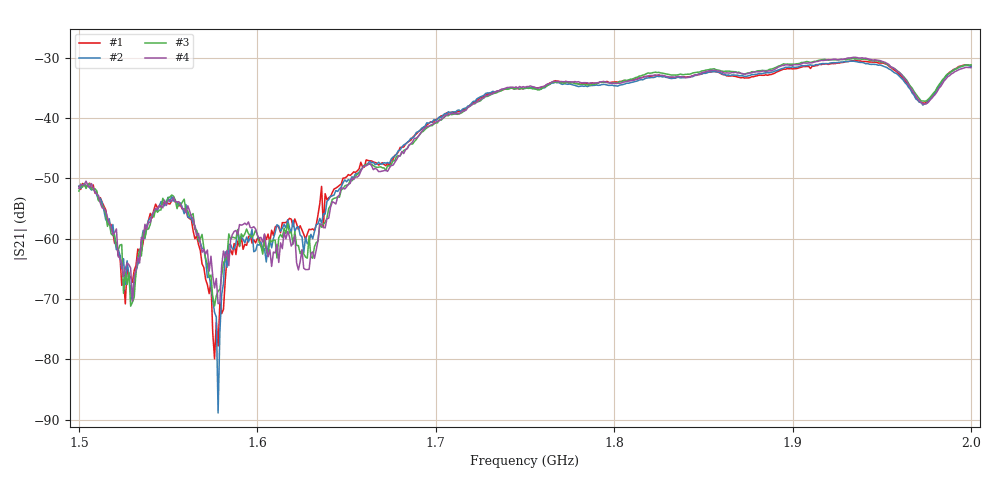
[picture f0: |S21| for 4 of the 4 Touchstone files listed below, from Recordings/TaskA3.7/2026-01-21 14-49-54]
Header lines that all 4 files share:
! NanoVNA-App by SYSJOINT et al v1.1.209 (+OD18)
! Start: 1,5GHz Stop: 2GHz Points: 501
! S-Parameter data: F S11 S21 S12 S22
# Hz S RI R 50
!  Frequency  S11_Real  S11_Imag  S21_Real  S21_Imag  S12_Real  S12_Imag  S22_Real  S22_Imag
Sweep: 1.5 GHz to 2 GHz
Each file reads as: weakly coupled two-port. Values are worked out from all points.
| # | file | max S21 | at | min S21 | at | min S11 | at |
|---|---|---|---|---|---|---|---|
| 1 | 0.s2p | -30.42 dB | 1.935 GHz | -79.9 dB | 1.576 GHz | -30.6 dB | 1.817 GHz |
| 2 | 1.s2p | -30.57 dB | 1.933 GHz | -88.9 dB | 1.578 GHz | -30.9 dB | 1.817 GHz |
| 3 | 2.s2p | -30.13 dB | 1.934 GHz | -71.2 dB | 1.529 GHz | -30.5 dB | 1.817 GHz |
| 4 | 3.s2p | -29.92 dB | 1.935 GHz | -70.8 dB | 1.578 GHz | -30.2 dB | 1.816 GHz |
